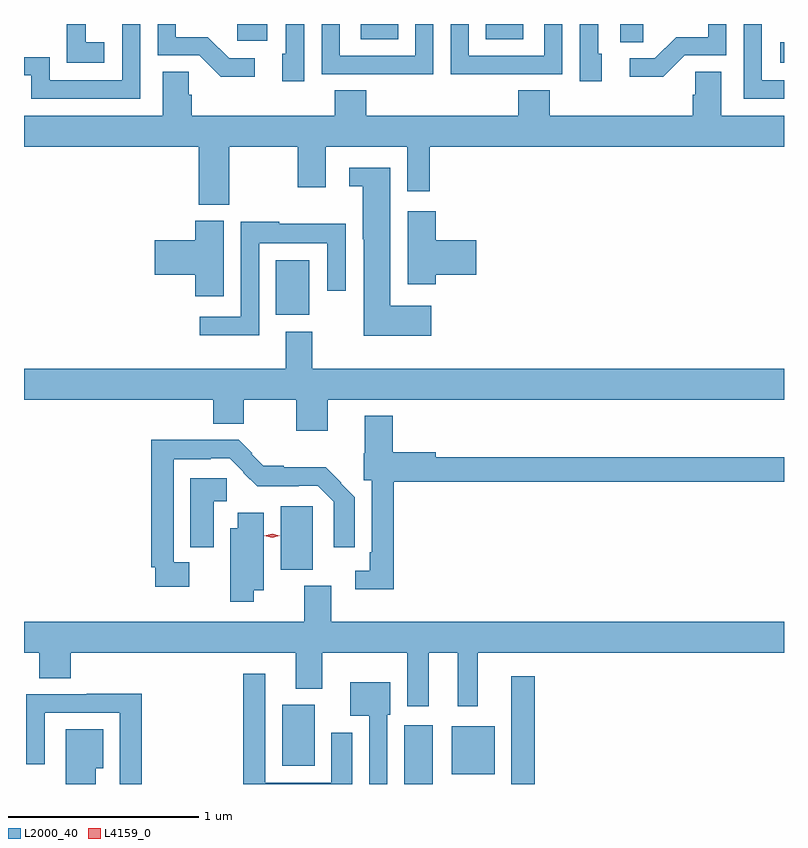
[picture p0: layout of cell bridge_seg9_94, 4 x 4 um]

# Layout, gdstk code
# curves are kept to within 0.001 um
import gdstk
lib = gdstk.Library(unit=1e-6, precision=1e-09)
def R(c, l, rs):  # rectangles x0, y0, x1, y1
    for r in rs: c.add(gdstk.rectangle(r[:2], r[2:], *l))
def P(c, l, *ps):  # polygons
    for p in ps: c.add(gdstk.Polygon(p, *l))
L2000_40 = (2000, 40)
L4159_0 = (4159, 0)

bridge_seg9_94 = lib.new_cell('bridge_seg9_94')
R(bridge_seg9_94, L2000_40, [(665.279,1181.078,665.428,1181.386), (665.843,1181.078,665.965,1181.644), (665.528,1181.129,665.755,1181.383), (664.637,1181.174,664.807,1181.494), (664.628,1182.206,664.798,1182.54), (664.604,1183.547,664.78,1183.834), (667.257,1184.873,667.278,1184.983), (666.416,1184.983,666.537,1185.078), (664.401,1184.99,664.558,1185.078), (665.051,1184.999,665.248,1185.078), (665.708,1184.999,665.905,1185.078)])
P(bridge_seg9_94, L2000_40, [(666.319,1184.922),(666.3,1184.922),(666.3,1185.078),(666.204,1185.078),(666.204,1184.778),(666.319,1184.778)],
  [(666.756,1184.913),(666.975,1184.913),(666.975,1185.078),(666.879,1185.078),(666.879,1185.009),(666.71,1185.009),(666.599,1184.898),(666.465,1184.898),(666.465,1184.801),(666.643,1184.801)],
  [(664.492,1184.898),(664.357,1184.898),(664.246,1185.009),(664.077,1185.009),(664.077,1185.078),(663.981,1185.078),(663.981,1184.913),(664.2,1184.913),(664.313,1184.801),(664.492,1184.801)],
  [(665.433,1185.078),(665.337,1185.078),(665.337,1184.91),(664.941,1184.91),(664.941,1185.078),(664.845,1185.078),(664.845,1184.814),(665.161,1184.814),(665.161,1184.813),(665.433,1184.813)],
  [(664.752,1185.078),(664.656,1185.078),(664.656,1184.922),(664.637,1184.922),(664.637,1184.778),(664.752,1184.778)],
  [(663.891,1185.078),(663.795,1185.078),(663.795,1184.781),(663.414,1184.781),(663.414,1184.904),(663.278,1184.904),(663.278,1184.808),(663.317,1184.808),(663.317,1184.685),(663.891,1184.685)],
  [(663.7,1184.983),(663.602,1184.983),(663.602,1185.078),(663.502,1185.078),(663.502,1184.873),(663.7,1184.873)],
  [(667.278,1184.781),(667.161,1184.781),(667.161,1185.078),(667.065,1185.078),(667.065,1184.685),(667.278,1184.685)],
  [(665.795,1184.814),(666.111,1184.814),(666.111,1185.078),(666.015,1185.078),(666.015,1184.91),(665.619,1184.91),(665.619,1185.078),(665.523,1185.078),(665.523,1184.813),(665.795,1184.813)],
  [(664.359,1184.432),(664.72,1184.432),(664.72,1184.22),(664.867,1184.22),(664.867,1184.432),(665.294,1184.432),(665.294,1184.199),(665.413,1184.199),(665.413,1184.432),(667.278,1184.432),(667.278,1184.596),(666.949,1184.596),(666.949,1184.828),(666.81,1184.828),(666.81,1184.705),(666.797,1184.705),(666.797,1184.596),(666.044,1184.596),(666.044,1184.729),(665.879,1184.729),(665.879,1184.596),(665.078,1184.596),(665.078,1184.729),(664.913,1184.729),(664.913,1184.596),(664.16,1184.596),(664.16,1184.705),(664.146,1184.705),(664.146,1184.828),(664.007,1184.828),(664.007,1184.596),(663.278,1184.596),(663.278,1184.432),(664.199,1184.432),(664.199,1184.128),(664.359,1184.128)],
  [(665.422,1183.594),(665.206,1183.594),(665.206,1184.322),(664.989,1184.322),(664.989,1184.225),(665.06,1184.225),(665.06,1183.944),(665.066,1183.944),(665.066,1183.436),(665.422,1183.436)],
  [(665.444,1183.757),(665.659,1183.757),(665.659,1183.94),(665.444,1183.94),(665.444,1184.092),(665.297,1184.092),(665.297,1183.707),(665.444,1183.707)],
  [(664.33,1184.043),(664.178,1184.043),(664.178,1183.94),(663.966,1183.94),(663.966,1183.757),(664.178,1183.757),(664.178,1183.644),(664.33,1183.644)],
  [(664.515,1183.925),(664.875,1183.925),(664.875,1183.674),(664.971,1183.674),(664.971,1184.026),(664.622,1184.026),(664.622,1184.036),(664.419,1184.036),(664.419,1183.536),(664.203,1183.536),(664.203,1183.439),(664.515,1183.439)],
  [(664.876,1183.1),(667.278,1183.1),(667.278,1183.264),(664.795,1183.264),(664.795,1183.459),(664.655,1183.459),(664.655,1183.264),(663.278,1183.264),(663.278,1183.1),(664.274,1183.1),(664.274,1182.974),(664.435,1182.974),(664.435,1183.1),(664.712,1183.1),(664.712,1182.936),(664.876,1182.936)],
  [(665.225,1182.67),(667.278,1182.67),(667.278,1182.799),(665.446,1182.799),(665.446,1182.823),(665.219,1182.823),(665.219,1183.015),(665.072,1183.015),(665.072,1182.819),(665.067,1182.819),(665.067,1182.677),(665.109,1182.677),(665.109,1182.298),(665.097,1182.298),(665.097,1182.201),(665.022,1182.201),(665.022,1182.104),(665.225,1182.104)],
  [(664.148,1182.244),(664.065,1182.244),(664.065,1182.788),(664.262,1182.788),(664.262,1182.792),(664.362,1182.792),(664.434,1182.72),(664.431,1182.717),(664.505,1182.644),(664.724,1182.644),(664.724,1182.648),(664.824,1182.648),(664.908,1182.564),(664.908,1182.324),(665.02,1182.324),(665.02,1182.588),(664.865,1182.745),(664.645,1182.745),(664.645,1182.753),(664.537,1182.753),(664.475,1182.815),(664.479,1182.819),(664.409,1182.889),(663.949,1182.889),(663.949,1182.22),(663.969,1182.22),(663.969,1182.116),(664.148,1182.116)],
  [(664.276,1182.566),(664.345,1182.566),(664.345,1182.686),(664.154,1182.686),(664.154,1182.325),(664.276,1182.325)],
  [(664.486,1182.098),(664.54,1182.098),(664.54,1182.505),(664.403,1182.505),(664.403,1182.424),(664.364,1182.424),(664.364,1182.036),(664.486,1182.036)],
  [(665.407,1181.768),(665.561,1181.768),(665.561,1181.487),(665.665,1181.487),(665.665,1181.768),(667.278,1181.768),(667.278,1181.932),(664.894,1181.932),(664.894,1182.121),(664.754,1182.121),(664.754,1181.932),(663.278,1181.932),(663.278,1181.768),(663.359,1181.768),(663.359,1181.635),(663.524,1181.635),(663.524,1181.768),(664.709,1181.768),(664.709,1181.579),(664.849,1181.579),(664.849,1181.768),(665.294,1181.768),(665.294,1181.487),(665.407,1181.487)],
  [(665.005,1181.347),(664.895,1181.347),(664.895,1181.085),(664.548,1181.085),(664.548,1181.659),(664.432,1181.659),(664.432,1181.078),(665.005,1181.078)],
  [(665.19,1181.442),(665.206,1181.442),(665.206,1181.614),(664.994,1181.614),(664.994,1181.438),(665.094,1181.438),(665.094,1181.078),(665.19,1181.078)],
  [(663.899,1181.552),(663.607,1181.552),(663.607,1181.55),(663.291,1181.55),(663.291,1181.181),(663.387,1181.181),(663.387,1181.454),(663.783,1181.454),(663.783,1181.078),(663.899,1181.078)],
  [(663.655,1181.162),(663.694,1181.162),(663.694,1181.365),(663.497,1181.365),(663.497,1181.078),(663.655,1181.078)])
P(bridge_seg9_94, L4159_0, [(664.584,1182.374),(664.543,1182.384),(664.543,1182.384),(664.543,1182.384),(664.584,1182.394),(664.624,1182.384),(664.625,1182.384),(664.624,1182.384)])

lib.write_gds('bridge_seg9_94.gds')
